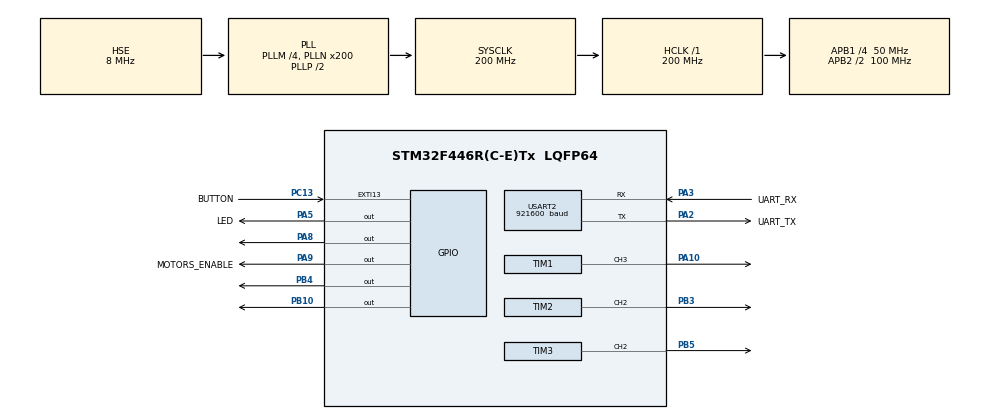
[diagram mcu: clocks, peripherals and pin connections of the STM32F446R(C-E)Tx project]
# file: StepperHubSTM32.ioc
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Dma.Request0=USART2_RX
Dma.Request1=USART2_TX
Dma.USART2_RX.0.Channel=DMA_CHANNEL_4
Dma.USART2_RX.0.Direction=DMA_PERIPH_TO_MEMORY
Dma.USART2_RX.0.FIFOMode=DMA_FIFOMODE_DISABLE
Dma.USART2_RX.0.Instance=DMA1_Stream5
Dma.USART2_RX.0.MemDataAlignment=DMA_MDATAALIGN_BYTE
Dma.USART2_RX.0.MemInc=DMA_MINC_ENABLE
Dma.USART2_RX.0.Mode=DMA_NORMAL
Dma.USART2_RX.0.PeriphDataAlignment=DMA_PDATAALIGN_BYTE
Dma.USART2_RX.0.PeriphInc=DMA_PINC_DISABLE
Dma.USART2_RX.0.Priority=DMA_PRIORITY_LOW
Dma.USART2_TX.1.Channel=DMA_CHANNEL_4
Dma.USART2_TX.1.Direction=DMA_MEMORY_TO_PERIPH
Dma.USART2_TX.1.FIFOMode=DMA_FIFOMODE_DISABLE
Dma.USART2_TX.1.Instance=DMA1_Stream6
Dma.USART2_TX.1.MemDataAlignment=DMA_MDATAALIGN_BYTE
Dma.USART2_TX.1.MemInc=DMA_MINC_ENABLE
Dma.USART2_TX.1.Mode=DMA_NORMAL
Dma.USART2_TX.1.PeriphDataAlignment=DMA_PDATAALIGN_BYTE
Dma.USART2_TX.1.PeriphInc=DMA_PINC_DISABLE
Dma.USART2_TX.1.Priority=DMA_PRIORITY_LOW
Mcu.Family=STM32F4
Mcu.Name=STM32F446R(C-E)Tx
Mcu.Package=LQFP64
NVIC.DMA1_Stream5_IRQn=true\:4\:0\:true\:false\:true
NVIC.DMA1_Stream6_IRQn=true\:4\:0\:true\:false\:true
NVIC.EXTI15_10_IRQn=true\:3\:0\:true\:false\:true
NVIC.PriorityGroup=NVIC_PRIORITYGROUP_4
NVIC.TIM1_UP_TIM10_IRQn=true\:0\:0\:false\:false\:false
NVIC.TIM2_IRQn=true\:0\:0\:false\:false\:false
NVIC.TIM3_IRQn=true\:0\:0\:false\:false\:false
NVIC.TIM8_TRG_COM_TIM14_IRQn=true\:1\:0\:true\:false\:false
NVIC.USART2_IRQn=true\:4\:0\:true\:false\:true
PA10.GPIO_PuPd=GPIO_PULLDOWN
PA10.Signal=S_TIM1_CH3
PA13.Mode=Serial-Wire
PA13.Signal=SYS_JTMS-SWDIO
PA14.Mode=Serial-Wire
PA14.Signal=SYS_JTCK-SWCLK
PA2.GPIO_Label=UART_TX
PA2.Mode=Asynchronous
PA2.Signal=USART2_TX
PA3.GPIO_Label=UART_RX
PA3.Mode=Asynchronous
PA3.Signal=USART2_RX
PA5.GPIO_Label=LED
PA5.Signal=GPIO_Output
PA8.Signal=GPIO_Output
PA9.GPIO_Label=MOTORS_ENABLE
PA9.GPIO_PuPd=GPIO_NOPULL
PA9.Signal=GPIO_Output
PB10.Signal=GPIO_Output
PB3.GPIO_PuPd=GPIO_PULLDOWN
PB3.Signal=S_TIM2_CH2
PB4.Signal=GPIO_Output
PB5.GPIO_PuPd=GPIO_PULLDOWN
PB5.Signal=S_TIM3_CH2
PC13.GPIO_Label=BUTTON
PC13.Signal=GPXTI13
PH0-OSC_IN.Mode=HSE-External-Oscillator
PH0-OSC_IN.Signal=RCC_OSC_IN
PH1-OSC_OUT.Mode=HSE-External-Oscillator
PH1-OSC_OUT.Signal=RCC_OSC_OUT
ProjectManager.HeapSize=0x200
ProjectManager.StackSize=0x400
ProjectManager.TargetToolchain=MDK-ARM V5
RCC.AHBFreq_Value=200000000
RCC.APB1CLKDivider=RCC_HCLK_DIV4
RCC.APB1Freq_Value=50000000
RCC.APB1TimFreq_Value=50000000
RCC.APB2CLKDivider=RCC_HCLK_DIV2
RCC.APB2Freq_Value=100000000
RCC.APB2TimFreq_Value=100000000
RCC.CortexFreq_Value=200000000
RCC.HCLKFreq_Value=200000000
RCC.HSE_VALUE=8000000
RCC.PLLM=4
RCC.PLLN=200
RCC.PLLSourceVirtual=RCC_PLLSOURCE_HSE
RCC.RCC_TIM_PRescaler_Selection=RCC_TIMPRES_ACTIVATED
RCC.SYSCLKFreq_VALUE=200000000
RCC.SYSCLKSource=RCC_SYSCLKSOURCE_PLLCLK
RCC.USBFreq_Value=200000000
RCC.VCOOutputFreq_Value=400000000
SH.S_TIM1_CH3.0=TIM1_CH3,PWM Generation3 CH3
SH.S_TIM2_CH2.0=TIM2_CH2,PWM Generation2 CH2
SH.S_TIM3_CH2.0=TIM3_CH2,PWM Generation2 CH2
TIM1.Channel-PWM\ Generation3\ CH3=TIM_CHANNEL_3
TIM1.ClockDivision=TIM_CLOCKDIVISION_DIV1
TIM1.CounterMode=TIM_COUNTERMODE_DOWN
TIM1.Period=0xFFFF
TIM1.Pulse-PWM\ Generation3\ CH3=200
TIM14.Period=10000
TIM2.Channel-PWM\ Generation2\ CH2=TIM_CHANNEL_2
TIM2.CounterMode=TIM_COUNTERMODE_DOWN
TIM2.Period=0xFFFF
TIM2.Pulse-PWM\ Generation2\ CH2=200
TIM3.Channel-PWM\ Generation2\ CH2=TIM_CHANNEL_2
TIM3.CounterMode=TIM_COUNTERMODE_DOWN
TIM3.Period=0xFFFF
TIM3.Pulse-PWM\ Generation2\ CH2=200
USART2.BaudRate=921600 
VP_TIM14_VS_ClockSourceINT.Mode=Enable_Timer
VP_TIM1_VS_ClockSourceINT.Mode=Internal
VP_TIM2_VS_ClockSourceINT.Mode=Internal
VP_TIM3_VS_ClockSourceINT.Mode=Internal
board=StepperHubSTM32

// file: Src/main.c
/**
  ******************************************************************************
  * File Name          : main.c
  * Description        : Main program body
  ******************************************************************************
  *
  * COPYRIGHT(c) 2016 STMicroelectronics
  *
  * Redistribution and use in source and binary forms, with or without modification,
  * are permitted provided that the following conditions are met:
  *   1. Redistributions of source code must retain the above copyright notice,
  *      this list of conditions and the following disclaimer.
  *   2. Redistributions in binary form must reproduce the above copyright notice,
  *      this list of conditions and the following disclaimer in the documentation
  *      and/or other materials provided with the distribution.
  *   3. Neither the name of STMicroelectronics nor the names of its contributors
  *      may be used to endorse or promote products derived from this software
  *      without specific prior written permission.
  *
  * THIS SOFTWARE IS PROVIDED BY THE COPYRIGHT HOLDERS AND CONTRIBUTORS "AS IS"
  * AND ANY EXPRESS OR IMPLIED WARRANTIES, INCLUDING, BUT NOT LIMITED TO, THE
  * IMPLIED WARRANTIES OF MERCHANTABILITY AND FITNESS FOR A PARTICULAR PURPOSE ARE
  * DISCLAIMED. IN NO EVENT SHALL THE COPYRIGHT HOLDER OR CONTRIBUTORS BE LIABLE
  * FOR ANY DIRECT, INDIRECT, INCIDENTAL, SPECIAL, EXEMPLARY, OR CONSEQUENTIAL
  * DAMAGES (INCLUDING, BUT NOT LIMITED TO, PROCUREMENT OF SUBSTITUTE GOODS OR
  * SERVICES; LOSS OF USE, DATA, OR PROFITS; OR BUSINESS INTERRUPTION) HOWEVER
  * CAUSED AND ON ANY THEORY OF LIABILITY, WHETHER IN CONTRACT, STRICT LIABILITY,
  * OR TORT (INCLUDING NEGLIGENCE OR OTHERWISE) ARISING IN ANY WAY OUT OF THE USE
  * OF THIS SOFTWARE, EVEN IF ADVISED OF THE POSSIBILITY OF SUCH DAMAGE.
  *
  ******************************************************************************
  */
#include "stm32f4xx_hal.h"

/* USER CODE BEGIN Includes */

#include "stepperController.h"
#include "stepperCommands.h"
#include "serial.h"
//#define TEST

/* USER CODE END Includes */

TIM_HandleTypeDef htim1;
TIM_HandleTypeDef htim2;
TIM_HandleTypeDef htim3;
TIM_HandleTypeDef htim14;

UART_HandleTypeDef huart2;
DMA_HandleTypeDef hdma_usart2_rx;
DMA_HandleTypeDef hdma_usart2_tx;

/* USER CODE BEGIN PV */
/* Private variables ---------------------------------------------------------*/
uint32_t STEP_TIMER_CLOCK;
uint32_t STEP_CONTROLLER_PERIOD_US;

/* USER CODE END PV */

void SystemClock_Config(void);
static void MX_GPIO_Init(void);
static void MX_DMA_Init(void);
static void MX_TIM14_Init(void);
static void MX_USART2_UART_Init(void);
static void MX_TIM1_Init(void);
static void MX_TIM2_Init(void);
static void MX_TIM3_Init(void);

void HAL_TIM_MspPostInit(TIM_HandleTypeDef *htim);

/* USER CODE BEGIN PFP */
/* Private function prototypes -----------------------------------------------*/

/* USER CODE END PFP */

int main(void)
{
  /* USER CODE BEGIN 1 */
#if defined (TEST)
  int i =0;
#endif
  stepper_request stReq =  {'\0', CMD_GET, PARAM_ALL, 0, false};
  /* USER CODE END 1 */

  /* MCU Configuration----------------------------------------------------------*/

  /* Reset of all peripherals, Initializes the Flash interface and the Systick. */
  HAL_Init();

  /* Configure the system clock */
  SystemClock_Config();

  /* Initialize all configured peripherals */
  MX_GPIO_Init();
  MX_DMA_Init();
  MX_TIM14_Init();
  MX_USART2_UART_Init();
  MX_TIM1_Init();
  MX_TIM2_Init();
  MX_TIM3_Init();

  /* USER CODE BEGIN 2 */

  STEP_TIMER_CLOCK = HAL_RCC_GetHCLKFreq();
  STEP_CONTROLLER_PERIOD_US =  1000000U /(HAL_RCC_GetHCLKFreq() / htim14.Init.Period);

  printf("\r\n");
  printf ("============== Stepper Hub ==============\r\n");
  printf ("  CPU Clock: %d MHz StepperCtrl: %d us\r\n", STEP_TIMER_CLOCK/1000000, STEP_CONTROLLER_PERIOD_US);
  printf ("=========================================\r\n\r\n");

  Stepper_SetupPeripherals('X', &htim1, TIM_CHANNEL_3, GPIOB, GPIO_PIN_4);
  Stepper_SetupPeripherals('Y', &htim2, TIM_CHANNEL_2, GPIOB, GPIO_PIN_10);
  Stepper_SetupPeripherals('Z', &htim3, TIM_CHANNEL_2, GPIOA, GPIO_PIN_8);

  printf("Reading settings from internal storage...\r\n");
  Stepper_LoadConfig();

  if (Stepper_GetAccPrescaler('Z') == 0xFFFFFFFF) {
    printf("Storage is clean, initializing defaults ...\r\n");
    Stepper_InitDefaultState('X');
    Stepper_InitDefaultState('Y');
    Stepper_InitDefaultState('Z');
    Stepper_SaveConfig();
  }
  printf("DONE!\r\n\r\n");

  __HAL_TIM_ENABLE_IT(&htim1, TIM_IT_UPDATE);
  __HAL_TIM_ENABLE_IT(&htim2, TIM_IT_UPDATE);
  __HAL_TIM_ENABLE_IT(&htim3, TIM_IT_UPDATE);

  Serial_InitRxSequence();

  HAL_Delay(1);
  // This will run our StepController timer and enable interrupt for it as well
  HAL_TIM_Base_Start_IT(&htim14);

  // TODO: load settingsfrom FLASH
  stReq.stepper = 'X';
  ExecuteRequest(&stReq);
  stReq.stepper = 'Y';
  ExecuteRequest(&stReq);
  stReq.stepper = 'Z';
  ExecuteRequest(&stReq);
#if defined (TEST)

  Stepper_SetTargetPosition('X',10);

#endif

  /* USER CODE END 2 */

  /* Infinite loop */
  /* USER CODE BEGIN WHILE */
  while (1)
  {
#if defined (TEST)
    if (Stepper_GetCurrentPosition('X') == 10) {
        Stepper_SetTargetPosition('X', -10);
        Stepper_SetTargetPosition('Y', -5);
        Stepper_SetTargetPosition('Z',  0);
    }
    if (Stepper_GetCurrentPosition('X') == -10) {
        Stepper_SetTargetPosition('X', 10);
        Stepper_SetTargetPosition('Y', 5);
        Stepper_SetTargetPosition('Z', 1);
    }

    // this will check how UART tollerates TX buffer overflow
    printf("PF %d\r\n", i++);
#endif

  /* USER CODE END WHILE */

  }

}

/** System Clock Configuration
*/
void SystemClock_Config(void)
{

  RCC_OscInitTypeDef RCC_OscInitStruct;
  RCC_ClkInitTypeDef RCC_ClkInitStruct;
  RCC_PeriphCLKInitTypeDef PeriphClkInitStruct;

  __HAL_RCC_PWR_CLK_ENABLE();

  __HAL_PWR_VOLTAGESCALING_CONFIG(PWR_REGULATOR_VOLTAGE_SCALE1);

  RCC_OscInitStruct.OscillatorType = RCC_OSCILLATORTYPE_HSE;
  RCC_OscInitStruct.HSEState = RCC_HSE_ON;
  RCC_OscInitStruct.PLL.PLLState = RCC_PLL_ON;
  RCC_OscInitStruct.PLL.PLLSource = RCC_PLLSOURCE_HSE;
  RCC_OscInitStruct.PLL.PLLM = 4;
  RCC_OscInitStruct.PLL.PLLN = 200;
  RCC_OscInitStruct.PLL.PLLP = RCC_PLLP_DIV2;
  RCC_OscInitStruct.PLL.PLLQ = 2;
  RCC_OscInitStruct.PLL.PLLR = 2;
  HAL_RCC_OscConfig(&RCC_OscInitStruct);

  HAL_PWREx_EnableOverDrive();

  RCC_ClkInitStruct.ClockType = RCC_CLOCKTYPE_HCLK|RCC_CLOCKTYPE_SYSCLK
                              |RCC_CLOCKTYPE_PCLK1|RCC_CLOCKTYPE_PCLK2;
  RCC_ClkInitStruct.SYSCLKSource = RCC_SYSCLKSOURCE_PLLCLK;
  RCC_ClkInitStruct.AHBCLKDivider = RCC_SYSCLK_DIV1;
  RCC_ClkInitStruct.APB1CLKDivider = RCC_HCLK_DIV4;
  RCC_ClkInitStruct.APB2CLKDivider = RCC_HCLK_DIV2;
  HAL_RCC_ClockConfig(&RCC_ClkInitStruct, FLASH_LATENCY_5);

  PeriphClkInitStruct.PeriphClockSelection = RCC_PERIPHCLK_TIM;
  PeriphClkInitStruct.TIMPresSelection = RCC_TIMPRES_ACTIVATED;
  HAL_RCCEx_PeriphCLKConfig(&PeriphClkInitStruct);

  HAL_SYSTICK_Config(HAL_RCC_GetHCLKFreq()/1000);

  HAL_SYSTICK_CLKSourceConfig(SYSTICK_CLKSOURCE_HCLK);

  /* SysTick_IRQn interrupt configuration */
  HAL_NVIC_SetPriority(SysTick_IRQn, 2, 0);
}

/* TIM1 init function */
void MX_TIM1_Init(void)
{

  TIM_ClockConfigTypeDef sClockSourceConfig;
  TIM_MasterConfigTypeDef sMasterConfig;
  TIM_BreakDeadTimeConfigTypeDef sBreakDeadTimeConfig;
  TIM_OC_InitTypeDef sConfigOC;

  htim1.Instance = TIM1;
  htim1.Init.Prescaler = 0;
  htim1.Init.CounterMode = TIM_COUNTERMODE_DOWN;
  htim1.Init.Period = 0xFFFF;
  htim1.Init.ClockDivision = TIM_CLOCKDIVISION_DIV1;
  htim1.Init.RepetitionCounter = 0;
  HAL_TIM_Base_Init(&htim1);

  sClockSourceConfig.ClockSource = TIM_CLOCKSOURCE_INTERNAL;
  HAL_TIM_ConfigClockSource(&htim1, &sClockSourceConfig);

  HAL_TIM_PWM_Init(&htim1);

  sMasterConfig.MasterOutputTrigger = TIM_TRGO_RESET;
  sMasterConfig.MasterSlaveMode = TIM_MASTERSLAVEMODE_DISABLE;
  HAL_TIMEx_MasterConfigSynchronization(&htim1, &sMasterConfig);

  sBreakDeadTimeConfig.OffStateRunMode = TIM_OSSR_DISABLE;
  sBreakDeadTimeConfig.OffStateIDLEMode = TIM_OSSI_DISABLE;
  sBreakDeadTimeConfig.LockLevel = TIM_LOCKLEVEL_OFF;
  sBreakDeadTimeConfig.DeadTime = 0;
  sBreakDeadTimeConfig.BreakState = TIM_BREAK_DISABLE;
  sBreakDeadTimeConfig.BreakPolarity = TIM_BREAKPOLARITY_HIGH;
  sBreakDeadTimeConfig.AutomaticOutput = TIM_AUTOMATICOUTPUT_DISABLE;
  HAL_TIMEx_ConfigBreakDeadTime(&htim1, &sBreakDeadTimeConfig);

  sConfigOC.OCMode = TIM_OCMODE_PWM1;
  sConfigOC.Pulse = 200;
  sConfigOC.OCPolarity = TIM_OCPOLARITY_HIGH;
  sConfigOC.OCNPolarity = TIM_OCNPOLARITY_HIGH;
  sConfigOC.OCFastMode = TIM_OCFAST_DISABLE;
  sConfigOC.OCIdleState = TIM_OCIDLESTATE_RESET;
  sConfigOC.OCNIdleState = TIM_OCNIDLESTATE_RESET;
  HAL_TIM_PWM_ConfigChannel(&htim1, &sConfigOC, TIM_CHANNEL_3);

  HAL_TIM_MspPostInit(&htim1);

}

/* TIM2 init function */
void MX_TIM2_Init(void)
{

  TIM_ClockConfigTypeDef sClockSourceConfig;
  TIM_MasterConfigTypeDef sMasterConfig;
  TIM_OC_InitTypeDef sConfigOC;

  htim2.Instance = TIM2;
  htim2.Init.Prescaler = 0;
  htim2.Init.CounterMode = TIM_COUNTERMODE_DOWN;
  htim2.Init.Period = 0xFFFF;
  htim2.Init.ClockDivision = TIM_CLOCKDIVISION_DIV1;
  HAL_TIM_Base_Init(&htim2);

  sClockSourceConfig.ClockSource = TIM_CLOCKSOURCE_INTERNAL;
  HAL_TIM_ConfigClockSource(&htim2, &sClockSourceConfig);

  HAL_TIM_PWM_Init(&htim2);

  sMasterConfig.MasterOutputTrigger = TIM_TRGO_RESET;
  sMasterConfig.MasterSlaveMode = TIM_MASTERSLAVEMODE_DISABLE;
  HAL_TIMEx_MasterConfigSynchronization(&htim2, &sMasterConfig);

  sConfigOC.OCMode = TIM_OCMODE_PWM1;
  sConfigOC.Pulse = 200;
  sConfigOC.OCPolarity = TIM_OCPOLARITY_HIGH;
  sConfigOC.OCFastMode = TIM_OCFAST_DISABLE;
  HAL_TIM_PWM_ConfigChannel(&htim2, &sConfigOC, TIM_CHANNEL_2);

  HAL_TIM_MspPostInit(&htim2);

}

/* TIM3 init function */
void MX_TIM3_Init(void)
{

  TIM_ClockConfigTypeDef sClockSourceConfig;
  TIM_MasterConfigTypeDef sMasterConfig;
  TIM_OC_InitTypeDef sConfigOC;

  htim3.Instance = TIM3;
  htim3.Init.Prescaler = 0;
  htim3.Init.CounterMode = TIM_COUNTERMODE_DOWN;
  htim3.Init.Period = 0xFFFF;
  htim3.Init.ClockDivision = TIM_CLOCKDIVISION_DIV1;
  HAL_TIM_Base_Init(&htim3);

  sClockSourceConfig.ClockSource = TIM_CLOCKSOURCE_INTERNAL;
  HAL_TIM_ConfigClockSource(&htim3, &sClockSourceConfig);

  HAL_TIM_PWM_Init(&htim3);

  sMasterConfig.MasterOutputTrigger = TIM_TRGO_RESET;
  sMasterConfig.MasterSlaveMode = TIM_MASTERSLAVEMODE_DISABLE;
  HAL_TIMEx_MasterConfigSynchronization(&htim3, &sMasterConfig);

  sConfigOC.OCMode = TIM_OCMODE_PWM1;
  sConfigOC.Pulse = 200;
  sConfigOC.OCPolarity = TIM_OCPOLARITY_HIGH;
  sConfigOC.OCFastMode = TIM_OCFAST_DISABLE;
  HAL_TIM_PWM_ConfigChannel(&htim3, &sConfigOC, TIM_CHANNEL_2);

  HAL_TIM_MspPostInit(&htim3);

}

/* TIM14 init function */
void MX_TIM14_Init(void)
{

  htim14.Instance = TIM14;
  htim14.Init.Prescaler = 0;
  htim14.Init.CounterMode = TIM_COUNTERMODE_UP;
  htim14.Init.Period = 10000;
  htim14.Init.ClockDivision = TIM_CLOCKDIVISION_DIV1;
  HAL_TIM_Base_Init(&htim14);

}

/* USART2 init function */
void MX_USART2_UART_Init(void)
{

  huart2.Instance = USART2;
  huart2.Init.BaudRate = 115200;
  huart2.Init.WordLength = UART_WORDLENGTH_8B;
  huart2.Init.StopBits = UART_STOPBITS_1;
  huart2.Init.Parity = UART_PARITY_NONE;
  huart2.Init.Mode = UART_MODE_TX_RX;
  huart2.Init.HwFlowCtl = UART_HWCONTROL_NONE;
  huart2.Init.OverSampling = UART_OVERSAMPLING_16;
  HAL_UART_Init(&huart2);

}

void MX_DMA_Init(void)
{
  /* DMA controller clock enable */
  __HAL_RCC_DMA1_CLK_ENABLE();

  /* DMA interrupt init */
  /* DMA1_Stream5_IRQn interrupt configuration */
  HAL_NVIC_SetPriority(DMA1_Stream5_IRQn, 3, 0);
  HAL_NVIC_EnableIRQ(DMA1_Stream5_IRQn);
  /* DMA1_Stream6_IRQn interrupt configuration */
  HAL_NVIC_SetPriority(DMA1_Stream6_IRQn, 4, 0);
  HAL_NVIC_EnableIRQ(DMA1_Stream6_IRQn);

}

/** Configure pins as
        * Analog
        * Input
        * Output
        * EVENT_OUT
        * EXTI
*/
void MX_GPIO_Init(void)
{

  GPIO_InitTypeDef GPIO_InitStruct;

  /* GPIO Ports Clock Enable */
  __HAL_RCC_GPIOC_CLK_ENABLE();
  __HAL_RCC_GPIOH_CLK_ENABLE();
  __HAL_RCC_GPIOA_CLK_ENABLE();
  __HAL_RCC_GPIOB_CLK_ENABLE();

  /*Configure GPIO pin : BUTTON_Pin */
  GPIO_InitStruct.Pin = BUTTON_Pin;
  GPIO_InitStruct.Mode = GPIO_MODE_IT_RISING;
  GPIO_InitStruct.Pull = GPIO_NOPULL;
  HAL_GPIO_Init(BUTTON_GPIO_Port, &GPIO_InitStruct);

  /*Configure GPIO pins : LED_Pin PA8 MOTORS_ENABLE_Pin */
  GPIO_InitStruct.Pin = LED_Pin|GPIO_PIN_8|MOTORS_ENABLE_Pin;
  GPIO_InitStruct.Mode = GPIO_MODE_OUTPUT_PP;
  GPIO_InitStruct.Pull = GPIO_NOPULL;
  GPIO_InitStruct.Speed = GPIO_SPEED_FREQ_LOW;
  HAL_GPIO_Init(GPIOA, &GPIO_InitStruct);

  /*Configure GPIO pins : PB10 PB4 */
  GPIO_InitStruct.Pin = GPIO_PIN_10|GPIO_PIN_4;
  GPIO_InitStruct.Mode = GPIO_MODE_OUTPUT_PP;
  GPIO_InitStruct.Pull = GPIO_NOPULL;
  GPIO_InitStruct.Speed = GPIO_SPEED_FREQ_LOW;
  HAL_GPIO_Init(GPIOB, &GPIO_InitStruct);

  /*Configure GPIO pin Output Level */
  HAL_GPIO_WritePin(GPIOA, LED_Pin|GPIO_PIN_8|MOTORS_ENABLE_Pin, GPIO_PIN_RESET);

  /*Configure GPIO pin Output Level */
  HAL_GPIO_WritePin(GPIOB, GPIO_PIN_10|GPIO_PIN_4, GPIO_PIN_RESET);

  /* EXTI interrupt init*/
  HAL_NVIC_SetPriority(EXTI15_10_IRQn, 3, 0);
  HAL_NVIC_EnableIRQ(EXTI15_10_IRQn);

}

/* USER CODE BEGIN 4 */

// WE USE OUR OWN INTERRUPT IMPLEMENTATIONS !!!
// Instead of the ones generated by CubeMX.
// The reason for that is that CubeMX TIM interrupt template takes a lot of CPU ticks,
// doing various unnecessary register checks.
// This results into 4x longer interrrupt handling time (500 ns vs 1.5 - 2 uS).

void TIM1_UP_TIM10_IRQHandler(void)
{
  if (__HAL_TIM_GET_FLAG(&htim1, TIM_FLAG_UPDATE))
  {
    if (__HAL_TIM_GET_ITSTATUS(&htim1, TIM_IT_UPDATE))
    {
      //HAL_GPIO_WritePin(GPIOB, GPIO_PIN_4, GPIO_PIN_SET);
      __HAL_TIM_CLEAR_FLAG(&htim1, TIM_FLAG_UPDATE);
      Stepper_PulseTimerUpdate('X');
      //HAL_GPIO_WritePin(GPIOB, GPIO_PIN_4, GPIO_PIN_RESET);
    }
  }
}

void TIM2_IRQHandler(void)
{
  if (__HAL_TIM_GET_FLAG(&htim2, TIM_FLAG_UPDATE))
  {
    if (__HAL_TIM_GET_ITSTATUS(&htim2, TIM_IT_UPDATE))
    {
      //HAL_GPIO_WritePin(GPIOB, GPIO_PIN_10, GPIO_PIN_SET);
      __HAL_TIM_CLEAR_FLAG(&htim2, TIM_FLAG_UPDATE);
      Stepper_PulseTimerUpdate('Y');
      //HAL_GPIO_WritePin(GPIOB, GPIO_PIN_10, GPIO_PIN_RESET);
    }
  }
}

void TIM3_IRQHandler(void)
{
  if (__HAL_TIM_GET_FLAG(&htim3, TIM_FLAG_UPDATE))
  {
    if (__HAL_TIM_GET_ITSTATUS(&htim3, TIM_IT_UPDATE))
    {
      //HAL_GPIO_WritePin(GPIOA, GPIO_PIN_8, GPIO_PIN_SET);
      __HAL_TIM_CLEAR_FLAG(&htim3, TIM_FLAG_UPDATE);
      Stepper_PulseTimerUpdate('Z');
      //HAL_GPIO_WritePin(GPIOA, GPIO_PIN_8, GPIO_PIN_RESET);
    }
  }
}

void TIM8_TRG_COM_TIM14_IRQHandler(void)
{
  if (__HAL_TIM_GET_FLAG(&htim14, TIM_FLAG_UPDATE))
  {
    if (__HAL_TIM_GET_ITSTATUS(&htim14, TIM_IT_UPDATE))
    {
      HAL_GPIO_WritePin(GPIOA, LED_Pin, GPIO_PIN_SET);
      __HAL_TIM_CLEAR_FLAG(&htim14, TIM_FLAG_UPDATE);

      Stepper_ExecuteAllControllers();
      Serial_CheckRxTimeout();

      HAL_GPIO_WritePin(GPIOA, LED_Pin, GPIO_PIN_RESET);
    }
  }
}

/* USER CODE END 4 */

/************************ (C) COPYRIGHT STMicroelectronics *****END OF FILE****/
